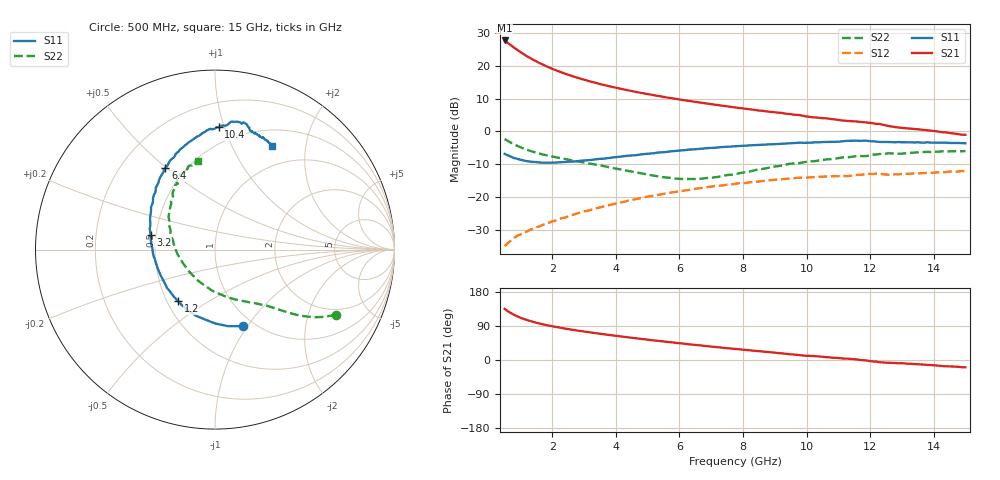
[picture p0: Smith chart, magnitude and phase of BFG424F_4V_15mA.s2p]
! Filename BFG424F_4V_15mA.prm
! Simulation_Values
! Created	by	janssen	on	nov	2006
!	Column ranking S11, S21,S12,S22 both magnitude and phase.
!	VCE	=	4	V,	IC	=	15	mA
!	Common	Emitter	S-Parameters
#	GHZ	S	MA	R	50
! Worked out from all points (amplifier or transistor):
!   146 points, 500 MHz to 15 GHz, reference 50 ohm
!   highest |S21| = 27.7 dB at 500 MHz (marker M1)
!   |S21| within 3 dB of that: start of sweep to 918.2 MHz
!   unconditionally stable (mu >= 1): 1.933 GHz to end of sweep
!   at 2.9 GHz: K = 1.11, MAG = 18.3 dB, |S12| = -24.6 dB
!   at 7.8 GHz: K = 1.14, MAG = 9.3 dB, |S12| = -15.9 dB
!   at 15 GHz: K = 1.38, MAG = 1.9 dB, |S12| = -12.1 dB
!   S11 on the Smith chart (normalised r, x): 500 MHz: 0.89, -0.96; 1.2 GHz: 0.57, -0.37; 3.2 GHz: 0.47, +0.09; 6.4 GHz: 0.39, +0.49; 10.4 GHz: 0.37, +0.96; 15 GHz: 0.70, +1.45
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0.5  0.455 -69.7  24.14 134.9  0.018 65.1  0.764 -28.4
0.6  0.433 -80.2  22.16 128.9  0.02 62.4  0.717 -31.5
0.7  0.412 -89.7  20.37 123.6  0.022 61.7  0.674 -34.0
0.8  0.393 -98.4  18.74 119.1  0.024 61.0  0.636 -35.9
0.9  0.383 -106.4  17.32 115.1  0.026 60.6  0.603 -37.6
1  0.371 -113.4  16.07 111.6  0.027 60.3  0.574 -39.0
1.2  0.353 -125.8  13.93 105.6  0.03 60.9  0.526 -41.2
1.3  0.348 -131.4  13.06 103.0  0.032 61.1  0.506 -42.2
1.5  0.342 -141.3  11.58 98.3  0.035 61.8  0.474 -43.9
1.7  0.335 -149.8  10.38 94.3  0.038 62.8  0.446 -45.7
1.9  0.335 -157.7  9.382 90.6  0.041 63.6  0.424 -47.4
2.4  0.343 -173.4  7.557 83.0  0.049 65.3  0.38 -52.3
3  0.361 172.0  6.106 75.1  0.061 66.2  0.336 -59.4
3.2  0.368 167.5  5.742 72.7  0.064 66.1  0.323 -62.1
4.2  0.415 149.2  4.393 61.7  0.084 65.4  0.261 -79.7
5.4  0.479 132.9  3.422 49.8  0.11 61.9  0.204 -109.6
6.4  0.531 121.4  2.86 40.7  0.132 58.2  0.189 -143.1
7.8  0.596 107.8  2.303 28.9  0.161 51.9  0.226 175.0
10.2  0.678 89.6  1.636 10.5  0.201 39.6  0.352 134.0
10.4  0.683 88.2  1.611 9.7  0.204 38.9  0.363 132.6
12.6  0.69 72.8  1.201 -7.4  0.219 28.5  0.464 112.8
15  0.661 61.2  0.888 -19.2  0.249 20.0  0.503 100.9
